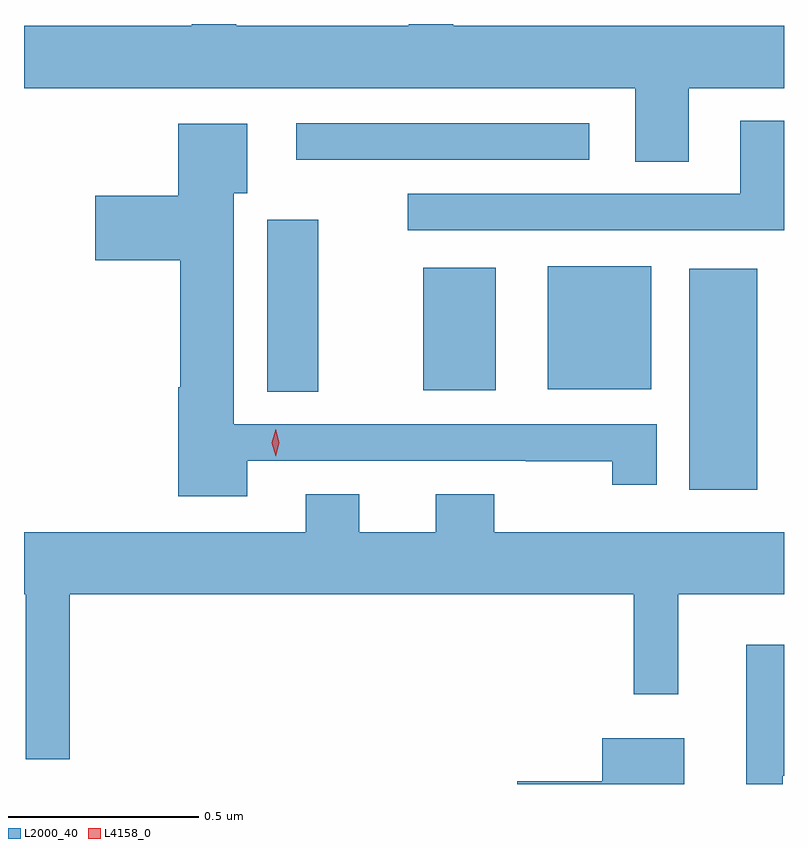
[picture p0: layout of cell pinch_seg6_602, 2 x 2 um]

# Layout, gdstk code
import gdstk
lib = gdstk.Library(unit=1e-6, precision=1e-09)
def R(c, l, rs):  # rectangles x0, y0, x1, y1
    for r in rs: c.add(gdstk.rectangle(r[:2], r[2:], *l))
def P(c, l, *ps):  # polygons
    for p in ps: c.add(gdstk.Polygon(p, *l))
L2000_40 = (2000, 40)
L4158_0 = (4158, 0)

pinch_seg6_602 = lib.new_cell('pinch_seg6_602')
R(pinch_seg6_602, L2000_40, [(630.674,970.256,630.853,970.837), (629.564,970.513,629.698,970.966), (629.975,970.517,630.166,970.84), (630.302,970.52,630.574,970.843), (629.64,971.124,630.412,971.22)])
P(pinch_seg6_602, L2000_40, [(630.673,971.312),(630.924,971.312),(630.924,971.476),(630.053,971.476),(630.053,971.481),(629.936,971.481),(629.936,971.476),(629.483,971.476),(629.483,971.481),(629.365,971.481),(629.365,971.476),(628.924,971.476),(628.924,971.312),(630.533,971.312),(630.533,971.119),(630.673,971.119)],
  [(630.924,971.227),(630.809,971.227),(630.809,971.034),(629.934,971.034),(629.934,970.938),(630.924,970.938)],
  [(629.512,970.332),(630.244,970.332),(630.244,970.331),(630.472,970.331),(630.472,970.269),(630.589,970.269),(630.589,970.428),(629.476,970.428),(629.476,971.036),(629.512,971.036),(629.512,971.218),(629.33,971.218),(629.33,971.029),(629.112,971.029),(629.112,970.859),(629.335,970.859),(629.335,970.525),(629.33,970.525),(629.33,970.238),(629.512,970.238)],
  [(629.045,969.98),(630.529,969.98),(630.529,969.717),(630.646,969.717),(630.646,969.98),(630.924,969.98),(630.924,970.144),(630.161,970.144),(630.161,970.243),(630.008,970.243),(630.008,970.144),(629.806,970.144),(629.806,970.243),(629.666,970.243),(629.666,970.144),(628.924,970.144),(628.924,969.98),(628.929,969.98),(628.929,969.546),(629.045,969.546)],
  [(630.921,969.503),(630.924,969.503),(630.924,969.847),(630.824,969.847),(630.824,969.481),(630.921,969.481)],
  [(630.661,969.601),(630.446,969.601),(630.446,969.488),(630.222,969.488),(630.222,969.481),(630.661,969.481)])
P(pinch_seg6_602, L4158_0, [(629.586,970.343),(629.586,970.343),(629.576,970.379),(629.586,970.415),(629.586,970.415),(629.586,970.415),(629.596,970.379),(629.586,970.343)])

lib.write_gds('pinch_seg6_602.gds')
